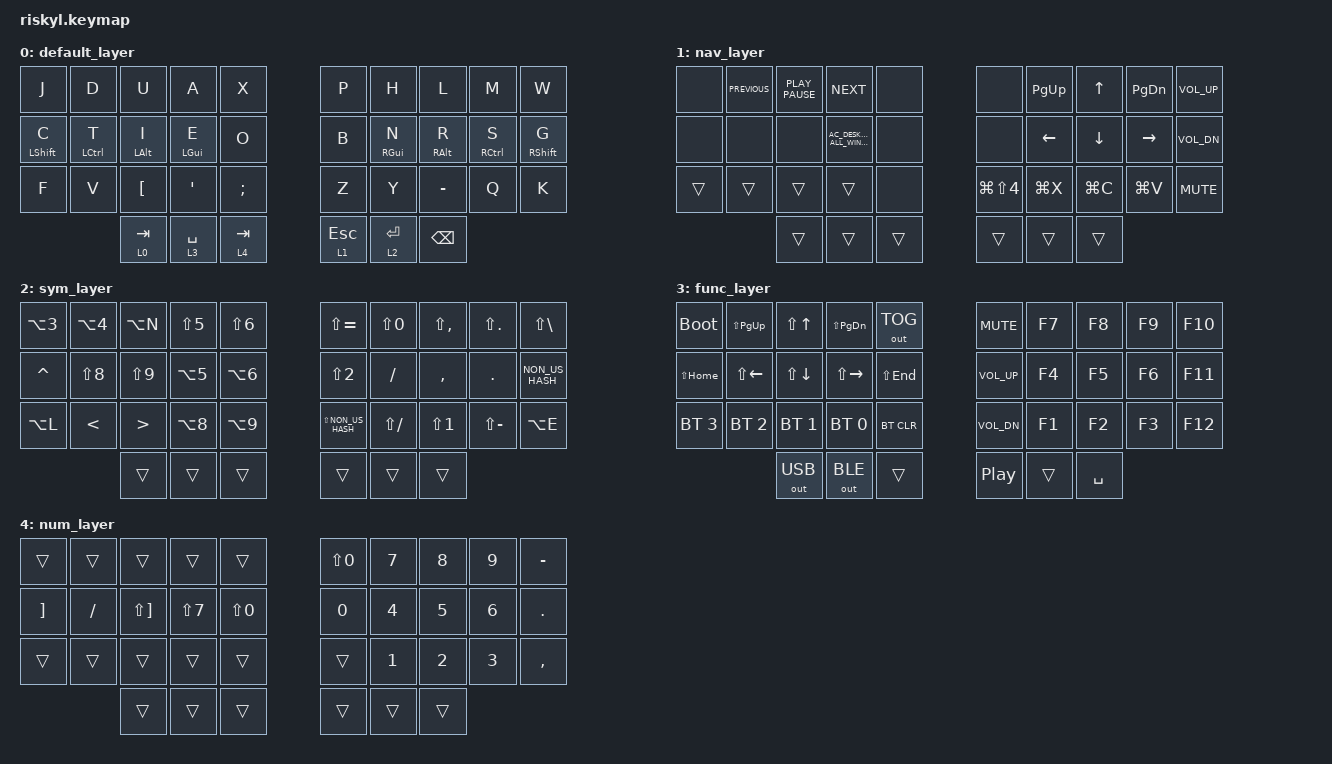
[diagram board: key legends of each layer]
#include <behaviors.dtsi>
#include <dt-bindings/zmk/bt.h>
#include <dt-bindings/zmk/keys.h>
#include <dt-bindings/zmk/outputs.h>

#define DEFAULT 0
#define NAV     1
#define SYM     2
#define FUNC    3
#define MEDIA   4
#define NUM 5

&caps_word { continue-list = <UNDERSCORE MINUS>; };

/ {
    combos {
        compatible = "zmk,combos";

        combo_esc {
            timeout-ms = <50>;
            key-positions = <11 12>;
            bindings = <&kp ESC>;

            combo_undo {
                timeout-ms = <50>;
                key-positions = <20 21>;
                bindings = <&kp LGUI(Z)>;
            };
        };

        delete {
            bindings = <&kp DEL>;
            key-positions = <31 35>;
        };

        navig {
            bindings = <&to 1>;
            key-positions = <20 33>;
        };

        default-layer {
            bindings = <&to 0>;
            key-positions = <20 30>;
        };

        system_layer {
            bindings = <&to 2>;
            key-positions = <20 34>;
        };

        function_layer {
            bindings = <&to 3>;
            key-positions = <20 31>;
        };
        num_layer {
            bindings = <&to 3>;
            key-positions = <20 32>;
        };

        navig2 {
            bindings = <&to 1>;
            key-positions = <29 33>;
        };

        default-layer2 {
            bindings = <&to 0>;
            key-positions = <29 30>;
        };

        system_layer2 {
            bindings = <&to 2>;
            key-positions = <29 34>;
        };

        function_layer2 {
            bindings = <&to 3>;
            key-positions = <29 31>;
        };
        
        num_layer2 {
            bindings = <&to 3>;
            key-positions = <29 32>;
        };
    };
};
öfvvüäjduaxaaudjctieoöäüvfTIEO
/ {
    behaviors {
        hm: homerow_mods {
            compatible = "zmk,behavior-hold-tap";
            #binding-cells = <2>;
            tapping-term-ms = <200>;
            flavor = "tap-preferred";
            bindings = <&kp>, <&kp>;
        };

        hs: homerow_shift {
            compatible = "zmk,behavior-hold-tap";
            #binding-cells = <2>;
            tapping-term-ms = <175>;
            flavor = "balanced";
            bindings = <&kp>, <&kp>;
        };
    };

    keymap {
        compatible = "zmk,keymap";

        default_layer {
            bindings = <
&kp J         &kp D        &kp U       &kp A        &kp X      &kp P         &kp H        &kp L          &kp M        &kp W
&hm LSHIFT C  &hm LCTRL T  &hm LALT I  &hs LGUI E   &kp O      &kp B         &hs RGUI N   &hm RALT R     &hm RCTRL S  &hm RSHIFT G
&kp F         &kp V        &kp LBKT    &kp SQT      &kp SEMI   &kp Z         &kp Y        &kp MINUS      &kp Q        &kp K
                           &lt 0 TAB   &lt 3 SPACE  &lt 4 TAB  &lt 1 ESCAPE  &lt 2 ENTER  &kp BACKSPACE
            >;
        };

        nav_layer {
            bindings = <
&none   &kp K_PREVIOUS  &kp K_PLAY_PAUSE  &kp K_NEXT                         &none   &none           &kp PAGE_UP     &kp UP_ARROW    &kp PAGE_DOWN  &kp C_VOLUME_UP
&none   &none           &none             &kp C_AC_DESKTOP_SHOW_ALL_WINDOWS  &none   &none           &kp LEFT_ARROW  &kp DOWN_ARROW  &kp RIGHT      &kp C_VOL_DN
&trans  &trans          &trans            &trans                             &none   &kp LG(LS(N4))  &kp LG(X)       &kp LG(C)       &kp LG(V)      &kp C_MUTE
                        &trans            &trans                             &trans  &trans          &trans          &trans
            >;
        };

        sym_layer {
            bindings = <
&kp LA(N3)  &kp LA(NUMBER_4)  &kp LA(N)         &kp LS(N5)  &kp LS(NUMBER_6)  &kp LS(EQUAL)        &kp LS(N0)     &kp LS(COMMA)     &kp LS(DOT)    &kp LS(BACKSLASH)
&kp CARET   &kp LS(N8)        &kp LS(N9)        &kp LA(N5)  &kp LA(NUMBER_6)  &kp LS(NUMBER_2)     &kp SLASH      &kp COMMA         &kp DOT        &kp NON_US_HASH
&kp LA(L)   &kp LESS_THAN     &kp GREATER_THAN  &kp LA(N8)  &kp LA(N9)        &kp LS(NON_US_HASH)  &kp LS(SLASH)  &kp LS(NUMBER_1)  &kp LS(MINUS)  &kp LA(E)
                              &trans            &trans      &trans            &trans               &trans         &trans
            >;
        };

        func_layer {
            bindings = <
&bootloader   &kp LS(PG_UP)  &kp LS(UP)    &kp LS(PG_DN)  &out OUT_TOG  &kp C_MUTE        &kp F7  &kp F8     &kp F9  &kp F10
&kp LS(HOME)  &kp LS(LEFT)   &kp LS(DOWN)  &kp LS(RIGHT)  &kp LS(END)   &kp K_VOL_UP      &kp F4  &kp F5     &kp F6  &kp F11
&bt BT_SEL 3  &bt BT_SEL 2   &bt BT_SEL 1  &bt BT_SEL 0   &bt BT_CLR    &kp K_VOL_DN      &kp F1  &kp F2     &kp F3  &kp F12
                             &out OUT_USB  &out OUT_BLE   &trans        &kp C_PLAY_PAUSE  &trans  &kp SPACE
            >;
        };

        num_layer {
            bindings = <
&trans             &trans     &trans                 &trans      &trans      &kp LS(N0)  &kp N7  &kp N8  &kp N9  &kp MINUS
&kp RIGHT_BRACKET  &kp SLASH  &kp LS(RIGHT_BRACKET)  &kp LS(N7)  &kp LS(N0)  &kp N0      &kp N4  &kp N5  &kp N6  &kp DOT
&trans             &trans     &trans                 &trans      &trans      &trans      &kp N1  &kp N2  &kp N3  &kp COMMA
                              &trans                 &trans      &trans      &trans      &trans  &trans
            >;
        };
    };
};
